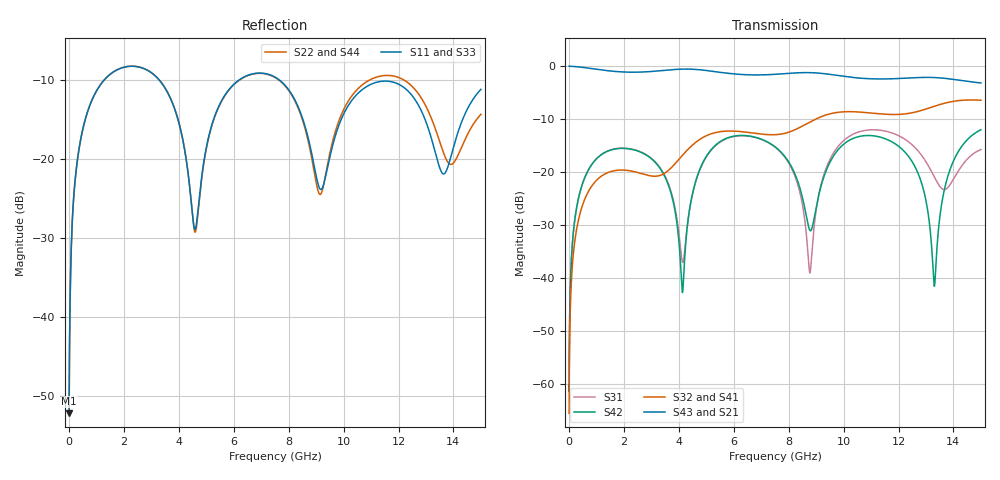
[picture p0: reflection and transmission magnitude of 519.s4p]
! Created with skrf 1.8.0 (http://scikit-rf.org).
# GHz S RI R 50.0
!freq ReS11 ImS11 ReS12 ImS12 ReS13 ImS13
! ReS14 ImS14
! ReS21 ImS21 ReS22 ImS22 ReS23 ImS23
! ReS24 ImS24
! ReS31 ImS31 ReS32 ImS32 ReS33 ImS33
! ReS34 ImS34
! ReS41 ImS41 ReS42 ImS42 ReS43 ImS43
! ReS44 ImS44
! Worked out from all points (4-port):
!   2499 points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, 5 MHz to 15 GHz, reference 50 ohm
!   strongest paths, dB at 5 MHz, 3.476 GHz, 7.19 GHz, 11.1 GHz, 15 GHz:
!     S43: 0.0, -0.8, -1.6, -2.4, -3.2
!     S21: 0.0, -0.8, -1.6, -2.4, -3.2
!     S32: -65.6, -20.3, -12.9, -8.9, -6.5
!     S41: -65.6, -20.3, -12.9, -9.0, -6.5
!     S42: -61.5, -20.7, -14.2, -13.2, -12.0
!     S31: -61.5, -20.6, -14.3, -12.0, -15.8
!   lowest |S11| = -52.3 dB at 5 MHz (marker M1), VSWR 1.00, Z = 50.2 + j0.148 ohm
!   |S11| at or under -10 dB: start of sweep to 1.276 GHz; 3.291 GHz to 6.185 GHz (2.894 GHz wide, 61.1 % of centre); 7.67 GHz to end of sweep
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0.005  0.00195 0.00147  0.998 -0.00379  0.000101 0.000839  -9.78e-05 -0.000516
       0.998 -0.00379  0.00195 0.00147  -9.78e-05 -0.000516  0.000101 0.000839
       0.000101 0.000839  -9.78e-05 -0.000516  0.00195 0.00147  0.998 -0.00379
       -9.78e-05 -0.000516  0.000101 0.000839  0.998 -0.00379  0.00195 0.00147
1.369321  0.2826 0.1685  0.5169 -0.7454  0.1433 0.0615  -0.0974 -0.000382
          0.5169 -0.7454  0.2831 0.1682  -0.0975 -0.000329  0.1421 0.0632
          0.1433 0.0615  -0.0975 -0.000329  0.2827 0.1685  0.5168 -0.7454
          -0.0974 -0.000382  0.1421 0.0632  0.5168 -0.7454  0.2832 0.1682
4.132972  0.07 -0.116  -0.8586 -0.3735  -0.0132 -0.00474  -0.0537 0.1333
          -0.8586 -0.3735  0.0689 -0.1177  -0.0529 0.1336  -0.00709 -0.00157
          -0.0132 -0.00474  -0.0529 0.1336  0.0713 -0.1175  -0.8583 -0.3736
          -0.0537 0.1333  -0.00709 -0.00157  -0.8583 -0.3736  0.0692 -0.1195
7.146728  0.3456 -0.0437  -0.00923 0.8272  0.178 -0.0812  0.2134 -0.0734
          -0.00923 0.8272  0.3442 -0.0447  0.2132 -0.0752  0.1776 -0.0849
          0.178 -0.0812  0.2132 -0.0752  0.3448 -0.0452  -0.00761 0.8273
          0.2134 -0.0734  0.1776 -0.0849  -0.00761 0.8273  0.3441 -0.0448
9.535223  0.0889 0.064  0.8313 -0.0438  0.0707 0.1168  -0.0415 -0.3529
          0.8313 -0.0438  0.0882 0.0752  -0.0447 -0.3528  0.0433 0.1206
          0.0707 0.1168  -0.0447 -0.3528  0.0876 0.0623  0.8311 -0.0474
          -0.0415 -0.3529  0.0433 0.1206  0.8311 -0.0474  0.09 0.0742
13.30554  0.1003 -0.0578  -0.6148 -0.4796  -0.0657 -0.061  -0.2466 0.3364
          -0.6148 -0.4796  0.123 -0.1051  -0.2408 0.3407  0.00831 -1.64e-05
          -0.0657 -0.061  -0.2408 0.3407  0.1025 -0.0567  -0.6207 -0.4713
          -0.2466 0.3364  0.00831 -1.64e-05  -0.6207 -0.4713  0.1193 -0.1084
15  0.2403 0.1366  -0.6183 0.315  0.1344 0.0919  0.2728 0.3891
    -0.6183 0.315  0.1799 0.0672  0.2794 0.3852  0.2483 0.032
    0.1344 0.0919  0.2794 0.3852  0.2425 0.1307  -0.6118 0.3265
    0.2728 0.3891  0.2483 0.032  -0.6118 0.3265  0.1821 0.0646
